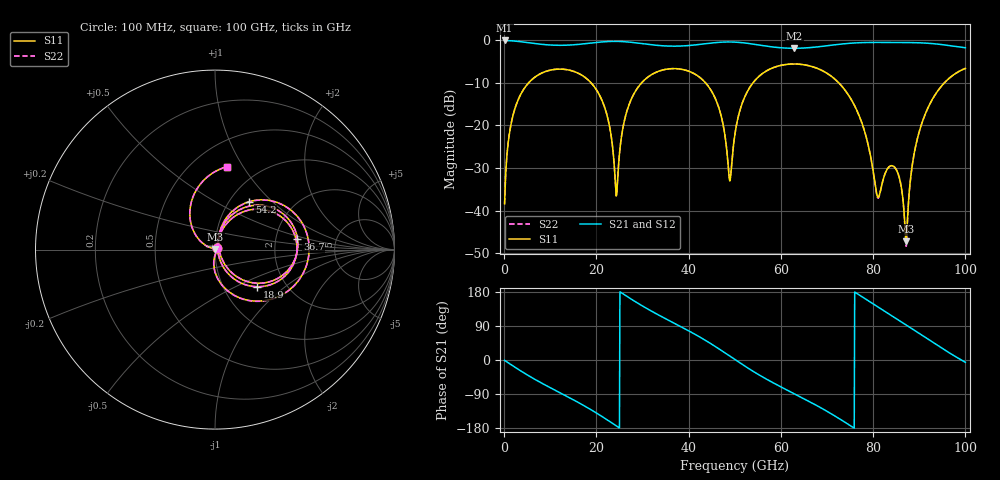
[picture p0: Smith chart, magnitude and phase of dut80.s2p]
! Touchstone file exported from HFSS 2026.1.0
!  File:  C:/ffzhzh/LocalFiles/Ansys_Project_Files/temp_train_TSV_RDL_80_1783451194_41684.aedt
!  Generated:  03:17:06 AM Jul  8, 2026
!  Design:  TSV_RDL
!  Project:  temp_train_TSV_RDL_80_1783451194_41684
! Variables:
!  h_bsmrdl = 3.87um
!  h_ox = 20um
!  h_rdl = 5um
!  h_sub = 73.93um
!  h_tmrdl = 3.44um
!  h_tsv = 73.93um
!  h_via = 3um
!  l_bsmrdl = 463.3um
!  l_sub = 2360.16um
!  l_tmrdl = 111.2um
!  m_sub = 200um
!  pitch = 49.17um
!  r_tsv = 10.04um
!  s_tmrdl = 10um
!  w_bsmrdl = 24.64um
!  w_sub = 500um
!  w_tmrdl = 17.18um
!  x_tsv_center1 = 119.79um
!  x_tsv_center2 = 607.73um
!  x_tsv_center3 = 736.11um
!  x_tsv_center4 = 1224.05um
!  x_tsv_center5 = 1352.43um
!  x_tsv_center6 = 1840.37um
# GHz S MA R 50.000000
! Terminal data exported
! Port[1] = TM_RDL1_1_T1
! Port[2] = TM_RDL5_1_T1
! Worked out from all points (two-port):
!   1000 points, 100 MHz to 100 GHz, reference 50 ohm
!   highest |S21| = -0.08 dB at 100 MHz (marker M1); lowest = -1.9 dB at 62.9 GHz (marker M2)
!   |S21| within 3 dB of the highest: start of sweep to end of sweep
!   lowest |S11| = -47.2 dB at 87.1 GHz (marker M3), VSWR 1.01, Z = 50.1 + j0.419 ohm
!   |S11| at or under -10 dB: 18.83 GHz to 29.82 GHz (10.99 GHz wide, 45.2 % of centre); 43.65 GHz to 53.96 GHz (10.32 GHz wide, 21.1 % of centre); 72.52 GHz to 95.46 GHz (22.94 GHz wide, 27.3 % of centre) (the widest 3 of 4)
!   |S22| runs from -48.3 to -5.6 dB; largest |S21 - S12| = 8.2e-14
!   S11 on the Smith chart (normalised r, x): 100 MHz: 1.02, +0.02; 18.9 GHz: 1.44, -0.66; 36.7 GHz: 2.66, +0.39; 54.2 GHz: 1.23, +0.73; 100 GHz: 0.72, +0.85
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0.1  0.01206 38.6  0.9907 -0.9  0.9907 -0.9  0.01206 38.6
! Gamma 0 0 0 0
! Port Impedance 50 0 50 0
1.6  0.1106 70.2  0.9811 -13.1  0.9811 -13.1  0.1106 70.2
4.4  0.2733 51.8  0.9455 -34.8  0.9455 -34.8  0.2733 51.8
16.8  0.3893 -27.5  0.8982 -117.0  0.8982 -117.0  0.3892 -27.5
18.9  0.3131 -41.4  0.9244 -131.7  0.9244 -131.7  0.3131 -41.4
22.3  0.1319 -63.0  0.9609 -157.6  0.9609 -157.6  0.1318 -63.0
24.3  0.01487 -3.4  0.9666 -173.6  0.9666 -173.6  0.01494 -3.1
27.2  0.182 67.7  0.947 163.4  0.947 163.4  0.1821 67.7
33.4  0.4295 27.4  0.8658 119.3  0.8658 119.3  0.4296 27.4
36.7  0.4633 7.2  0.8491 98.2  0.8491 98.2  0.4634 7.2
45.1  0.2446 -45.8  0.926 40.9  0.926 40.9  0.2447 -45.6
48.9  0.02233 2.9  0.9511 10.5  0.9511 10.5  0.0235 3.2
50.1  0.0832 74.3  0.9467 0.6  0.9467 0.6  0.08357 73.4
54.2  0.3279 54.5  0.8935 -31.5  0.8935 -31.5  0.3281 54.2
62.9  0.5246 0.6  0.8017 -89.0  0.8017 -89.0  0.5247 0.3
66.7  0.4903 -22.3  0.8202 -113.0  0.8202 -113.0  0.4903 -22.6
75.7  0.182 -81.6  0.9242 -178.3  0.9242 -178.3  0.1818 -82.0
80.9  0.0148 -47.1  0.9394 140.9  0.9394 140.9  0.01443 -47.2
83.4  0.03244 17.6  0.9384 121.6  0.9384 121.6  0.03251 17.4
87.1  0.004374 73.0  0.9367 92.9  0.9367 92.9  0.003834 68.2
91  0.1235 144.8  0.9251 62.0  0.9251 62.0  0.1232 145.2
100  0.4659 82.0  0.8138 -6.0  0.8138 -6.0  0.4657 82.0
